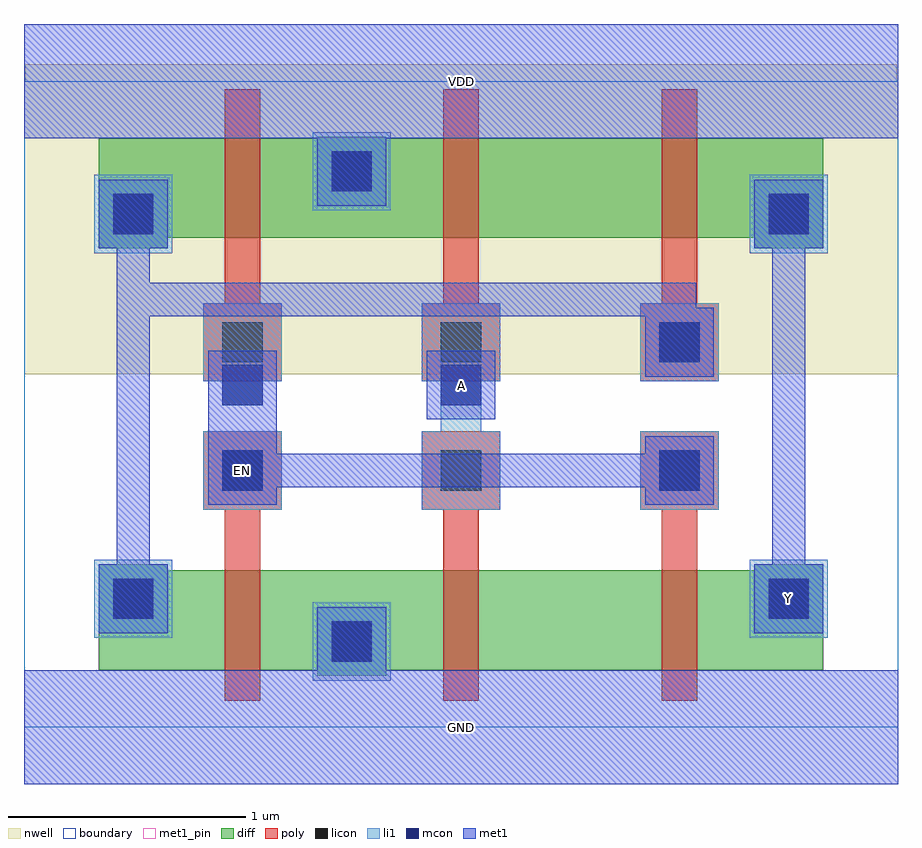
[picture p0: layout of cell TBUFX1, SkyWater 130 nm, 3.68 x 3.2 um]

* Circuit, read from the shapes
.subckt TBUFX1 A EN GND VDD Y
XM1 GND EN n1 VSUBS sky130_fd_pr__nfet_01v8 w=0.42 l=0.15
XM2 n2 A GND VSUBS sky130_fd_pr__nfet_01v8 w=0.42 l=0.15
XM3 Y EN n2 VSUBS sky130_fd_pr__nfet_01v8 w=0.42 l=0.15
XM4 VDD EN n1 n3 sky130_fd_pr__pfet_01v8 w=0.42 l=0.15
XM5 n4 A VDD n3 sky130_fd_pr__pfet_01v8 w=0.42 l=0.15
XM6 Y n1 n4 n3 sky130_fd_pr__pfet_01v8 w=0.42 l=0.15
.ends

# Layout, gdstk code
import gdstk
lib = gdstk.Library(unit=1e-6, precision=1e-09)
def R(c, l, rs):  # rectangles x0, y0, x1, y1
    for r in rs: c.add(gdstk.rectangle(r[:2], r[2:], *l))
def A(c, l, x, y, w, h, nx, ny, dx, dy):  # array of equal rectangles
    R(c, l, [(x+i*dx, y+j*dy, x+i*dx+w, y+j*dy+h) for i in range(nx) for j in range(ny)])
def P(c, l, *ps):  # polygons
    for p in ps: c.add(gdstk.Polygon(p, *l))
nwell = (64, 20)
diff = (65, 20)
poly = (66, 20)
licon = (66, 44)
li1 = (67, 20)
mcon = (67, 44)
met1_pin = (68, 16)
met1 = (68, 20)
boundary = (235, 4)

tbufx1 = lib.new_cell('TBUFX1')
P(tbufx1, nwell, [(0,1.485),(0,2.72),(0.005,2.72),(0.005,2.79),(3.675,2.79),(3.675,2.72),(3.68,2.72),(3.68,1.485)])
P(tbufx1, diff, [(1.235,0.215),(1.235,0.24),(0.315,0.24),(0.315,0.685),(0.605,0.685),(0.605,0.66),(3.075,0.66),(3.075,0.685),(3.365,0.685),(3.365,0.24),(1.525,0.24),(1.525,0.215)],
  [(0.315,2.015),(0.315,2.48),(1.235,2.48),(1.235,2.485),(1.525,2.485),(1.525,2.48),(3.365,2.48),(3.365,2.015),(3.075,2.015),(3.075,2.06),(0.605,2.06),(0.605,2.015)])
P(tbufx1, poly, [(0.845,0.11),(0.845,0.915),(0.755,0.915),(0.755,1.245),(1.085,1.245),(1.085,0.915),(0.995,0.915),(0.995,0.11)],
  [(1.765,0.11),(1.765,0.915),(1.675,0.915),(1.675,1.245),(2.005,1.245),(2.005,0.915),(1.915,0.915),(1.915,0.11)],
  [(2.685,0.11),(2.685,0.915),(2.595,0.915),(2.595,1.245),(2.925,1.245),(2.925,0.915),(2.835,0.915),(2.835,0.11)],
  [(0.755,1.455),(0.755,1.785),(0.845,1.785),(0.845,2.685),(0.995,2.685),(0.995,1.785),(1.085,1.785),(1.085,1.455)],
  [(1.675,1.455),(1.675,1.785),(1.765,1.785),(1.765,2.685),(1.915,2.685),(1.915,1.785),(2.005,1.785),(2.005,1.455)],
  [(2.595,1.455),(2.595,1.785),(2.685,1.785),(2.685,2.685),(2.835,2.685),(2.835,1.785),(2.925,1.785),(2.925,1.455)])
A(tbufx1, licon, 0.835, 0.995, 0.17, 0.17, 3, 2, 0.92, 0.54)
R(tbufx1, licon, [(1.295,0.275,1.465,0.445), (0.375,0.455,0.545,0.625), (3.135,0.455,3.305,0.625), (0.375,2.075,0.545,2.245), (3.135,2.075,3.305,2.245), (1.295,2.255,1.465,2.425)])
R(tbufx1, li1, [(1.215,0.195,1.545,0.525), (0.295,0.375,0.625,0.705), (3.055,0.375,3.385,0.705), (0.755,0.915,1.085,1.245), (2.595,0.915,2.925,1.245), (2.595,1.455,2.925,1.785), (0.295,1.995,0.625,2.325), (3.055,1.995,3.385,2.325), (1.215,2.175,1.545,2.505)])
P(tbufx1, li1, [(0.835,1.355),(0.835,1.455),(0.755,1.455),(0.755,1.785),(1.085,1.785),(1.085,1.455),(1.005,1.455),(1.005,1.355)],
  [(1.675,0.915),(1.675,1.245),(1.755,1.245),(1.755,1.455),(1.675,1.455),(1.675,1.785),(2.005,1.785),(2.005,1.455),(1.925,1.455),(1.925,1.245),(2.005,1.245),(2.005,0.915)])
R(tbufx1, mcon, [(1.295,0.275,1.465,0.445), (0.375,0.455,0.545,0.625), (3.135,0.455,3.305,0.625), (0.835,0.995,1.005,1.165), (2.675,0.995,2.845,1.165), (0.835,1.355,1.005,1.525), (1.755,1.355,1.925,1.525), (2.675,1.535,2.845,1.705), (0.375,2.075,0.545,2.245), (3.135,2.075,3.305,2.245), (1.295,2.255,1.465,2.425)])
R(tbufx1, met1_pin, [(0,-0.24,3.68,0.24), (1.695,1.295,1.985,1.585), (0,2.48,3.68,2.96)])
P(tbufx1, met1_pin, [(3.075,0.395),(3.075,0.685),(3.15,0.685),(3.15,2.015),(3.075,2.015),(3.075,2.305),(3.365,2.305),(3.365,2.015),(3.29,2.015),(3.29,0.685),(3.365,0.685),(3.365,0.395)],
  [(0.775,0.935),(0.775,1.585),(1.065,1.585),(1.065,1.15),(2.615,1.15),(2.615,1.225),(2.905,1.225),(2.905,0.935),(2.615,0.935),(2.615,1.01),(1.065,1.01),(1.065,0.935)])
R(tbufx1, met1, [(1.695,1.295,1.985,1.585)])
P(tbufx1, met1, [(0,-0.24),(0,0.24),(1.235,0.24),(1.235,0.505),(1.525,0.505),(1.525,0.24),(3.68,0.24),(3.68,-0.24)],
  [(0.775,0.935),(0.775,1.585),(1.065,1.585),(1.065,1.15),(2.615,1.15),(2.615,1.225),(2.905,1.225),(2.905,0.935),(2.615,0.935),(2.615,1.01),(1.065,1.01),(1.065,0.935)],
  [(0.315,0.395),(0.315,0.685),(0.39,0.685),(0.39,2.015),(0.315,2.015),(0.315,2.305),(0.605,2.305),(0.605,2.015),(0.53,2.015),(0.53,1.87),(2.83,1.87),(2.83,1.765),(2.905,1.765),(2.905,1.475),(2.615,1.475),(2.615,1.73),(0.53,1.73),(0.53,0.685),(0.605,0.685),(0.605,0.395)],
  [(3.075,0.395),(3.075,0.685),(3.15,0.685),(3.15,2.015),(3.075,2.015),(3.075,2.305),(3.365,2.305),(3.365,2.015),(3.29,2.015),(3.29,0.685),(3.365,0.685),(3.365,0.395)],
  [(1.235,2.195),(1.235,2.48),(0,2.48),(0,2.96),(3.68,2.96),(3.68,2.48),(1.525,2.48),(1.525,2.195)])
R(tbufx1, boundary, [(0,0,3.68,2.72)])
tbufx1.add(gdstk.Label('Y', (3.22,0.54), layer=68, texttype=5))
tbufx1.add(gdstk.Label('A', (1.84,1.44), layer=68, texttype=5))
tbufx1.add(gdstk.Label('EN', (0.92,1.08), layer=68, texttype=5))
tbufx1.add(gdstk.Label('GND', (1.84,0), layer=68, texttype=5))
tbufx1.add(gdstk.Label('VDD', (1.84,2.72), layer=68, texttype=5))

lib.write_gds('TBUFX1.gds')
